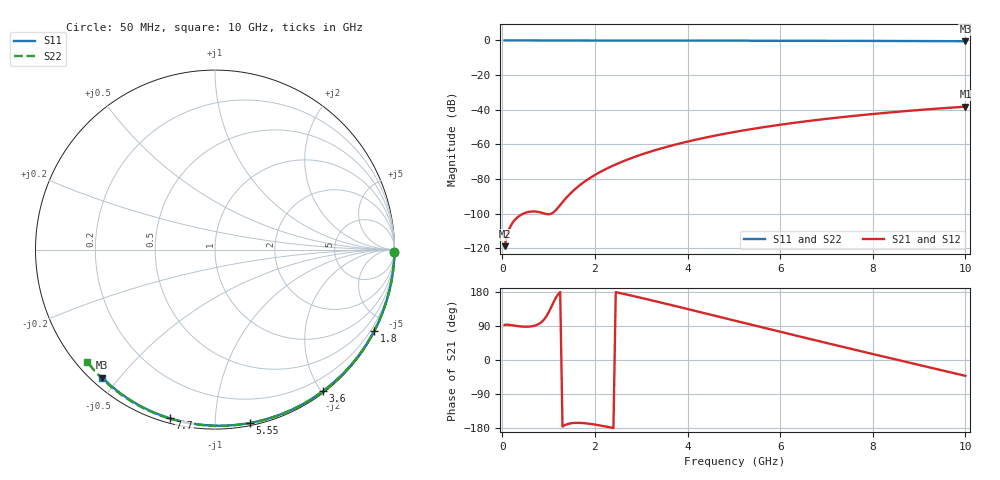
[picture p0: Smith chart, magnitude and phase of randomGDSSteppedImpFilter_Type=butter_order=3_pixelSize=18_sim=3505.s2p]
! freq	dB(S11)	phase(S11)	dB(S12)	phase(S12)
!  dB(S21)	phase(S21)	dB(S22)	phase(S22)
!S-par simulation data
#  GHz  S  DB  R 50
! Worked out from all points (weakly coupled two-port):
!   200 points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, 50 MHz to 10 GHz, reference 50 ohm
!   highest |S21| = -38.22 dB at 10 GHz (marker M1); lowest = -118.7 dB at 50 MHz (marker M2)
!   lowest |S11| = -0.4 dB at 10 GHz (marker M3), VSWR 39.03, Z = 1.54 - j22.6 ohm
!   |S11| at or under -10 dB: nowhere
!   |S22| runs from -0.5 to 0.0 dB; largest |S21 - S12| = 0
!   S11 on the Smith chart (normalised r, x): 50 MHz: open; 1.8 GHz: 0.04, -4.18; 3.6 GHz: 0.02, -2.02; 5.55 GHz: 0.02, -1.22; 7.7 GHz: 0.02, -0.77; 10 GHz: 0.03, -0.45
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0.05  -0.00 -0.8  -118.73 92.6  -118.73 92.6  -0.00 -0.8
0.45  -0.01 -6.8  -100.00 88.1  -100.00 88.1  -0.01 -7.2
0.9  -0.02 -13.6  -99.81 106.6  -99.81 106.6  -0.02 -14.4
1.75  -0.03 -26.2  -81.99 -166.6  -81.99 -166.6  -0.04 -27.7
1.8  -0.03 -26.9  -81.04 -167.1  -81.04 -167.1  -0.04 -28.4
1.85  -0.04 -27.7  -80.13 -167.8  -80.13 -167.8  -0.04 -29.2
2.15  -0.04 -32.0  -75.40 -173.6  -75.40 -173.6  -0.04 -33.8
2.35  -0.04 -34.9  -72.75 -178.4  -72.75 -178.4  -0.05 -36.9
2.55  -0.05 -37.8  -70.39 176.5  -70.39 176.5  -0.05 -39.9
2.95  -0.06 -43.5  -66.34 165.4  -66.34 165.4  -0.06 -45.9
3.4  -0.07 -49.9  -62.55 152.3  -62.55 152.3  -0.07 -52.6
3.6  -0.07 -52.6  -61.06 146.5  -61.06 146.5  -0.07 -55.5
3.9  -0.08 -56.8  -59.00 137.5  -59.00 137.5  -0.08 -59.9
4.3  -0.09 -62.2  -56.55 125.6  -56.55 125.6  -0.09 -65.6
5.05  -0.11 -72.2  -52.64 103.0  -52.64 103.0  -0.12 -76.1
5.55  -0.13 -78.6  -50.43 88.0  -50.43 88.0  -0.14 -82.9
6.1  -0.15 -85.6  -48.27 71.6  -48.27 71.6  -0.16 -90.2
6.7  -0.18 -93.0  -46.19 53.8  -46.19 53.8  -0.19 -98.0
7.7  -0.24 -105.0  -43.24 24.5  -43.24 24.5  -0.25 -110.6
8.35  -0.29 -112.6  -41.60 5.6  -41.60 5.6  -0.30 -118.6
9.2  -0.36 -122.3  -39.72 -18.8  -39.72 -18.8  -0.38 -129.0
10  -0.45 -131.3  -38.22 -41.8  -38.22 -41.8  -0.47 -138.6
